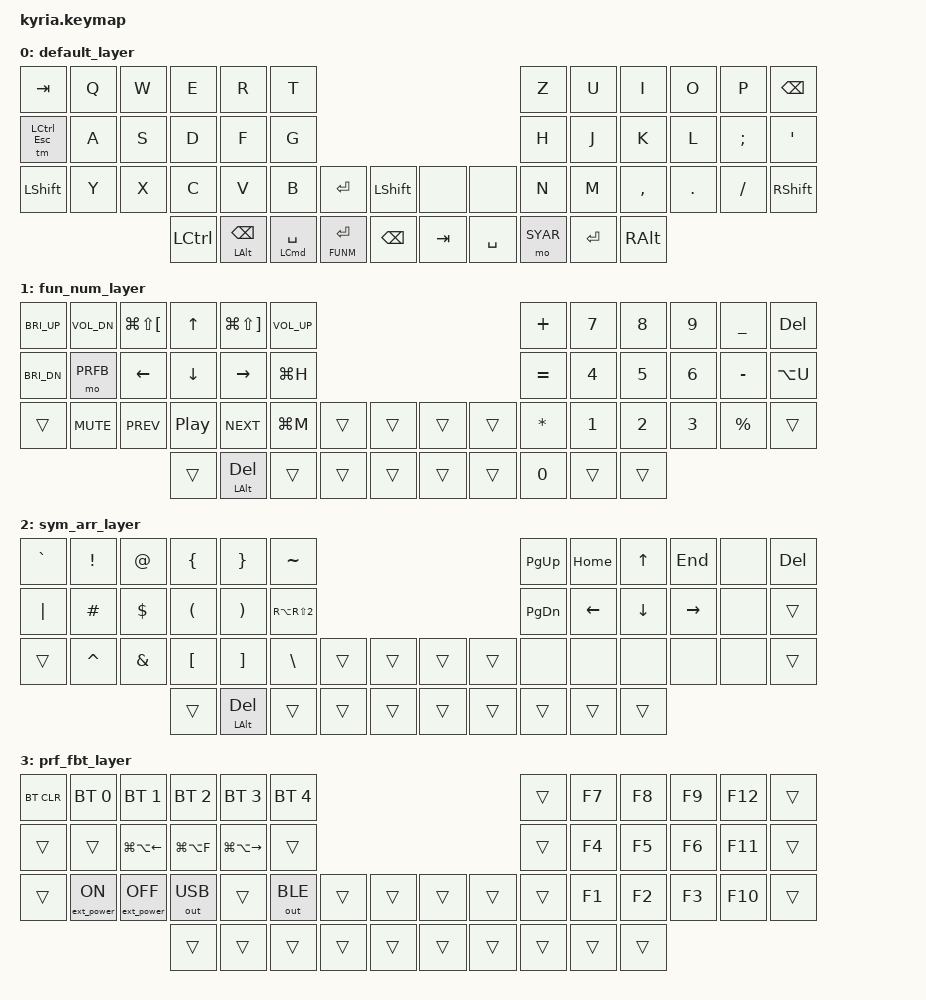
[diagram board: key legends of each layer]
/*
 * Copyright (c) 2020 The ZMK Contributors
 *
 * SPDX-License-Identifier: MIT
 */

#include <behaviors.dtsi>
#include <dt-bindings/zmk/keys.h>
#include <dt-bindings/zmk/bt.h>
#include <dt-bindings/zmk/ext_power.h>
#include <dt-bindings/zmk/outputs.h>

#define DEFAULT 0
#define FUNM 1
#define SYAR 2
#define PRFB 3

#define XXX &none
#define ___ &trans

#define BS BSPC
#define SPC SPACE
#define CTRL LCTRL
#define ALT LALT
#define CMD LCMD

#define EUR RA(RS(N2))
#define CM COMMA

#define SHTAB LS(TAB)      // shift tab
#define NTAB LG(LS(RBKT))  // next tab
#define PTAB LG(LS(LBKT))  // previous tab
#define NWIN LG(GRAVE)     // next window of app
#define PWIN LG(LS(GRAVE)) // previous window of app

#define SPECTACLE_L &kp LG(LA(LEFT))  // Spectacle left
#define SPECTACLE_R &kp LG(LA(RIGHT)) // Spectacle right
#define SPECTACLE_F &kp LG(LA(F))     // Spectacle full screen

#define EXT_PWR_ON &ext_power EP_ON
#define EXT_PWR_OFF &ext_power EP_OFF


&lt {
    flavor = "hold-preferred";
};

&mt {
    flavor = "hold-preferred";
};

/ {
    keymap {
        compatible = "zmk,keymap";

        default_layer {
            bindings = <
/* ╭─────────────┬─────────────┬─────────────┬─────────────┬─────────────┬─────────────╮                                              ╭─────────────┬─────────────┬─────────────┬─────────────┬─────────────┬─────────────╮ */
     &kp TAB          &kp Q         &kp W         &kp E         &kp R         &kp T                                                        &kp Z         &kp U         &kp I         &kp O         &kp P         &kp BSPC
/* ├─────────────┼─────────────┼─────────────┼─────────────┼─────────────┼─────────────┤                                              ├─────────────┼─────────────┼─────────────┼─────────────┼─────────────┼─────────────┤ */
    &tm CTRL ESC      &kp A         &kp S         &kp D         &kp F         &kp G                                                        &kp H         &kp J         &kp K         &kp L         &kp SEMI      &kp SQT
/* ├─────────────┼─────────────┼─────────────┼─────────────┼─────────────┼─────────────┼─────────┬───────────╮  ╭───────────┬─────────┼─────────────┼─────────────┼─────────────┼─────────────┼─────────────┼─────────────┤ */
     &kp LSHFT        &kp Y         &kp X         &kp C         &kp V         &kp B      &kp RET   &kp LSHFT          XXX        XXX       &kp N         &kp M         &kp CM        &kp DOT       &kp FSLH      &kp RSHFT
/* ╰─────────────┴─────────────┴─────────┬───┴─────────┬───┴─────────┬───┴─────────┬───┴─────────┼───────────┤  │           │         ╰───┬─────────┴───┬─────────┴───┬─────────┴───┬─────────┴─────────────┴─────────────╯ */
                                            &kp CTRL     &mt ALT BS    &mt CMD SPC  &lt FUNM RET   &kp BSPC        &kp TAB     &kp SPACE     &mo SYAR       &kp RET      &kp RALT
/*                                       ╰─────────────┴─────────────┴─────────────┴─────────────┴───────────╯  ╰───────────┴─────────────┴─────────────┴─────────────┴─────────────╯                                       */
            >;
        };

        // Layer: FUNM (FUNCTION AND NUMPAD LAYER)
        fun_num_layer {
            bindings = <
/* ╭─────────────┬─────────────┬─────────────┬─────────────┬─────────────┬─────────────╮                                              ╭─────────────┬─────────────┬─────────────┬─────────────┬─────────────┬─────────────╮ */
     &kp C_BRI_UP  &kp C_VOL_DN  &kp PTAB      &kp UP        &kp NTAB      &kp C_VOL_UP                                                 &kp PLUS      &kp N7        &kp N8        &kp N9        &kp UNDER     &kp DEL
/* ├─────────────┼─────────────┼─────────────┼─────────────┼─────────────┼─────────────┤                                              ├─────────────┼─────────────┼─────────────┼─────────────┼─────────────┼─────────────┤ */
     &kp C_BRI_DN  &mo PRFB      &kp LEFT      &kp DOWN      &kp RIGHT     &kp LG(H)                                                    &kp EQUAL     &kp N4        &kp N5        &kp N6        &kp MINUS     &kp LA(U)
/* ├─────────────┼─────────────┼─────────────┼─────────────┼─────────────┼─────────────┼─────────┬───────────╮  ╭───────────┬─────────┼─────────────┼─────────────┼─────────────┼─────────────┼─────────────┼─────────────┤ */
     ___           &kp K_MUTE    &kp C_PREV    &kp C_PP      &kp C_NEXT    &kp LG(M)       ___        ___            ___        ___     &kp STAR      &kp N1        &kp N2        &kp N3        &kp PRCNT     ___
/* ╰─────────────┴─────────────┴─────────┬───┴─────────┬───┴─────────┬───┴─────────┬───┴─────────┼───────────┤  │           │         ╰───┬─────────┴───┬─────────┴───┬─────────┴───┬─────────┴─────────────┴─────────────╯ */
                                               ___       &mt ALT DEL       ___           ___          ___            ___          ___         &kp N0          ___           ___
/*                                       ╰─────────────┴─────────────┴─────────────┴─────────────┴───────────╯  ╰───────────┴─────────────┴─────────────┴─────────────┴─────────────╯                                       */
            >;
        };

        // Layer: SYAR (SYMBOL AND ARROW LAYER)
        sym_arr_layer {
            bindings = <
/* ╭─────────────┬─────────────┬─────────────┬─────────────┬─────────────┬─────────────╮                                              ╭─────────────┬─────────────┬─────────────┬─────────────┬─────────────┬─────────────╮ */
     &kp GRAVE     &kp EXCL      &kp AT        &kp LBRC      &kp RBRC      &kp TILDE                                                    &kp PG_UP     &kp HOME      &kp UP        &kp END       XXX           &kp DEL
/* ├─────────────┼─────────────┼─────────────┼─────────────┼─────────────┼─────────────┤                                              ├─────────────┼─────────────┼─────────────┼─────────────┼─────────────┼─────────────┤ */
     &kp PIPE      &kp HASH      &kp DLLR      &kp LPAR      &kp RPAR      &kp EUR                                                      &kp PG_DN     &kp LEFT      &kp DOWN      &kp RIGHT     XXX           ___
/* ├─────────────┼─────────────┼─────────────┼─────────────┼─────────────┼─────────────┼─────────┬───────────╮  ╭───────────┬─────────┼─────────────┼─────────────┼─────────────┼─────────────┼─────────────┼─────────────┤ */
     ___           &kp CARET     &kp AMPS      &kp LBKT      &kp RBKT      &kp BSLH        ___        ___            ___        ___     XXX           XXX           XXX           XXX           XXX           ___
/* ╰─────────────┴─────────────┴─────────┬───┴─────────┬───┴─────────┬───┴─────────┬───┴─────────┼───────────┤  │           │         ╰───┬─────────┴───┬─────────┴───┬─────────┴───┬─────────┴─────────────┴─────────────╯ */
                                               ___       &mt ALT DEL       ___           ___          ___            ___          ___           ___           ___           ___
/*                                       ╰─────────────┴─────────────┴─────────────┴─────────────┴───────────╯  ╰───────────┴─────────────┴─────────────┴─────────────┴─────────────╯                                       */
            >;
        };

        // Layer: PRFB (PREFERENCES AND F-BUTTON LAYER)
        prf_fbt_layer {
            bindings = <
/* ╭─────────────┬─────────────┬─────────────┬─────────────┬─────────────┬─────────────╮                                              ╭─────────────┬─────────────┬─────────────┬─────────────┬─────────────┬─────────────╮ */
     &bt BT_CLR    &bt BT_SEL 0  &bt BT_SEL 1  &bt BT_SEL 2  &bt BT_SEL 3  &bt BT_SEL 4                                                 ___           &kp F7        &kp F8        &kp F9        &kp F12       ___
/* ├─────────────┼─────────────┼─────────────┼─────────────┼─────────────┼─────────────┤                                              ├─────────────┼─────────────┼─────────────┼─────────────┼─────────────┼─────────────┤ */
     ___           ___           SPECTACLE_L   SPECTACLE_F   SPECTACLE_R   ___                                                          ___           &kp F4        &kp F5        &kp F6        &kp F11       ___
/* ├─────────────┼─────────────┼─────────────┼─────────────┼─────────────┼─────────────┼─────────┬───────────╮  ╭───────────┬─────────┼─────────────┼─────────────┼─────────────┼─────────────┼─────────────┼─────────────┤ */
     ___           EXT_PWR_ON    EXT_PWR_OFF  &out OUT_USB   ___          &out OUT_BLE     ___        ___            ___        ___     ___           &kp F1        &kp F2        &kp F3        &kp F10       ___
/* ╰─────────────┴─────────────┴─────────┬───┴─────────┬───┴─────────┬───┴─────────┬───┴─────────┼───────────┤  │           │         ╰───┬─────────┴───┬─────────┴───┬─────────┴───┬─────────┴─────────────┴─────────────╯ */
                                               ___           ___           ___           ___          ___            ___          ___           ___           ___           ___
/*                                       ╰─────────────┴─────────────┴─────────────┴─────────────┴───────────╯  ╰───────────┴─────────────┴─────────────┴─────────────┴─────────────╯                                       */
            >;
        };

    };
};
